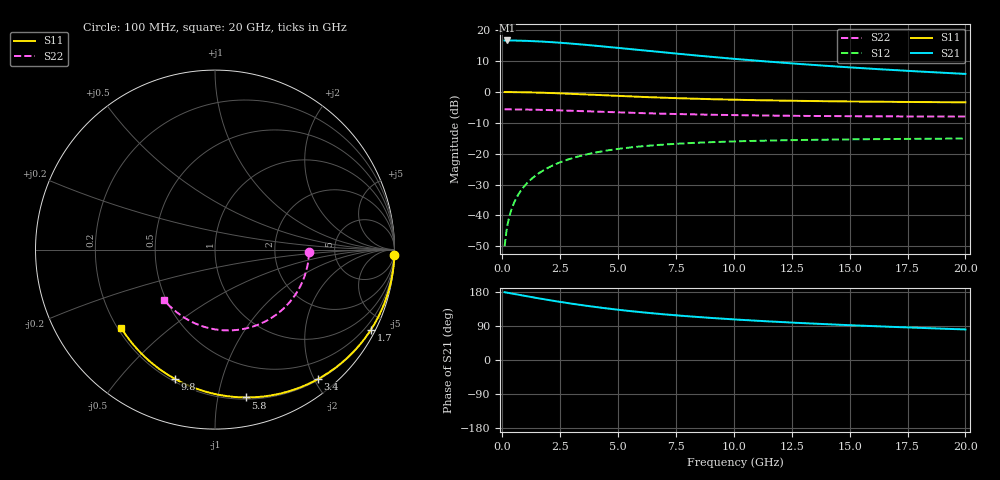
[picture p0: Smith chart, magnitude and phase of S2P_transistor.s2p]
! AWR Design Environment (17442) Mon Jun 23 16:37:15 2025
! Document = '0_S2P_transistor'
! nPorts: 2, nXvals: 200
# GHz S DB R 50
!Freq DBS11 AngS11 DBS21 AngS21 DBS12 AngS12 DBS22 AngS22
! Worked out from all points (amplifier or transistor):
!   200 points, 100 MHz to 20 GHz, reference 50 ohm
!   highest |S21| = 16.7 dB at 200 MHz (marker M1)
!   |S21| within 3 dB of that: start of sweep to 5.787 GHz
!   unconditionally stable (mu >= 1): nowhere
!   at 3.4 GHz: K = 0.10, MSG = 18.1 dB, |S12| = -20.7 dB
!   at 10.1 GHz: K = 0.29, MSG = 13.4 dB, |S12| = -16.0 dB
!   at 20 GHz: K = 0.55, MSG = 10.5 dB, |S12| = -15.1 dB
!   lowest NFmin = 0.01 dB at 100 MHz
!   S11 on the Smith chart (normalised r, x): 100 MHz: 0, -70; 1.7 GHz: 0.22, -4.11; 3.4 GHz: 0.21, -2.06; 5.8 GHz: 0.21, -1.21; 9.8 GHz: 0.21, -0.71; 20 GHz: 0.21, -0.35
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0.1  -0.00 -1.6  16.73 178.9  -49.99 88.8  -5.62 -1.7
0.2  -0.00 -3.3  16.74 177.8  -43.97 87.9  -5.61 -3.4
0.4  -0.01 -6.5  16.72 175.5  -37.97 85.9  -5.62 -6.7
0.7  -0.04 -11.4  16.68 172.2  -33.15 83.0  -5.64 -11.7
1.2  -0.11 -19.5  16.56 166.7  -28.59 78.1  -5.69 -19.9
1.7  -0.21 -27.3  16.38 161.4  -25.74 73.4  -5.78 -27.9
2.5  -0.42 -39.2  16.00 153.3  -22.78 66.3  -5.95 -40.0
2.9  -0.54 -44.8  15.77 149.5  -21.72 63.0  -6.04 -45.8
3.4  -0.71 -51.5  15.45 145.1  -20.66 59.1  -6.17 -52.5
3.5  -0.74 -52.8  15.39 144.2  -20.47 58.3  -6.20 -53.8
4  -0.91 -59.0  15.04 140.1  -19.65 54.8  -6.33 -60.1
4.6  -1.11 -66.0  14.61 135.5  -18.87 50.9  -6.49 -67.1
5.2  -1.31 -72.4  14.17 131.2  -18.25 47.4  -6.64 -73.4
5.8  -1.50 -78.3  13.73 127.3  -17.76 44.2  -6.78 -79.3
6.8  -1.79 -87.1  12.99 121.5  -17.12 39.6  -6.99 -87.9
8.2  -2.14 -97.6  11.98 114.6  -16.51 34.2  -7.24 -97.9
9.8  -2.45 -107.3  10.91 107.9  -16.06 29.4  -7.46 -107.0
10.1  -2.50 -108.9  10.72 106.8  -15.99 28.6  -7.49 -108.5
11.6  -2.72 -116.1  9.81 101.6  -15.72 25.2  -7.63 -115.0
13.4  -2.92 -123.1  8.81 96.1  -15.49 21.9  -7.76 -121.2
16.7  -3.17 -132.9  7.22 87.7  -15.23 17.3  -7.90 -129.4
20  -3.33 -139.9  5.89 80.6  -15.08 13.9  -7.96 -134.9
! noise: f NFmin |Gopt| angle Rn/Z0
0.1  0.008436  0.9924  0.5904  0.2552
2.3  0.1582  0.8679  13.58  0.2548
4.5  0.3065  0.7659  26.56  0.2541
6.7  0.4532  0.6869  39.45  0.2528
8.9  0.5981  0.6295  52.06  0.2511
11.1  0.7407  0.5909  64.11  0.2489
13.3  0.8808  0.5676  75.33  0.2462
15.5  1.018  0.5559  85.51  0.2432
17.7  1.153  0.5525  94.59  0.2397
20  1.29  0.555  102.9  0.2358
